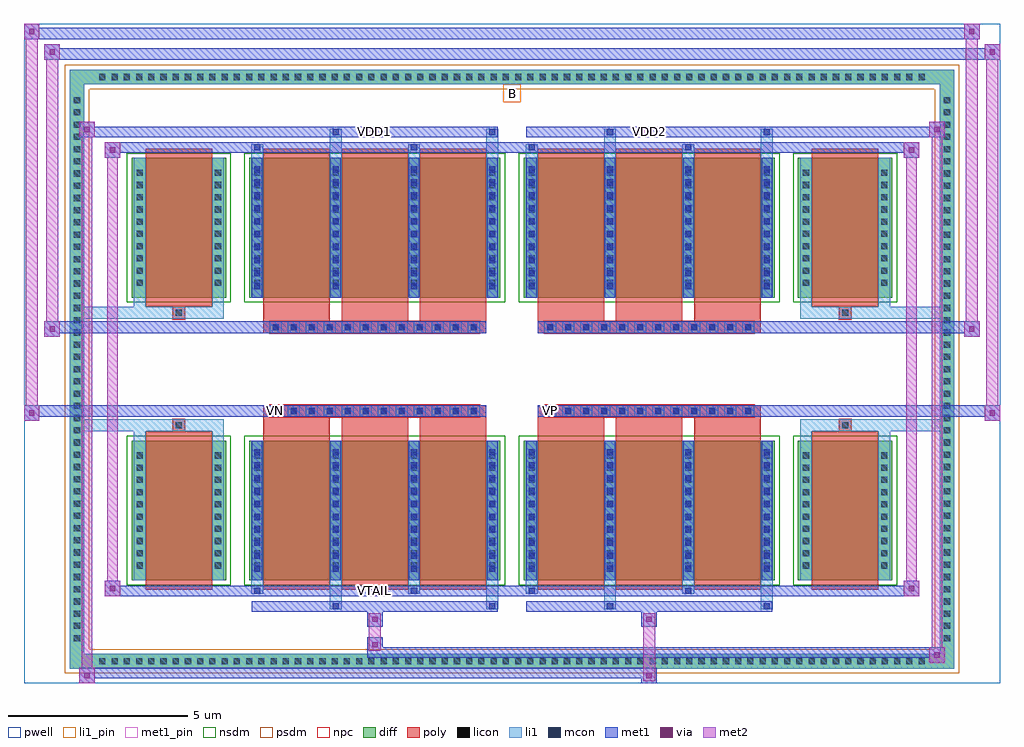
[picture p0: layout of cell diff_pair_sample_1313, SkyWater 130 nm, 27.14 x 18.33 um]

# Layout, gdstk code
import gdstk
lib = gdstk.Library(unit=1e-6, precision=5e-09)
def R(c, l, rs):  # rectangles x0, y0, x1, y1
    for r in rs: c.add(gdstk.rectangle(r[:2], r[2:], *l))
def A(c, l, x, y, w, h, nx, ny, dx, dy):  # array of equal rectangles
    R(c, l, [(x+i*dx, y+j*dy, x+i*dx+w, y+j*dy+h) for i in range(nx) for j in range(ny)])
def P(c, l, *ps):  # polygons
    for p in ps: c.add(gdstk.Polygon(p, *l))
pwell = (64, 44)
diff = (65, 20)
poly = (66, 20)
licon = (66, 44)
li1_pin = (67, 16)
li1 = (67, 20)
mcon = (67, 44)
met1_pin = (68, 16)
met1 = (68, 20)
via = (68, 44)
met2 = (69, 20)
nsdm = (93, 44)
psdm = (94, 20)
npc = (95, 20)

diff_pair_sample_1313 = lib.new_cell('diff_pair_sample_1313')
R(diff_pair_sample_1313, pwell, [(-13.57,-8.73,13.57,9.6), (-10.89,-6.92,-0.01,-0.8), (0.01,-6.92,10.89,-0.8), (-10.89,0.8,-0.01,6.92), (0.01,0.8,10.89,6.92)])
A(diff_pair_sample_1313, diff, -11.595, -8.33, 0.41, 0.41, 68, 2, 0.34, 16.25)
A(diff_pair_sample_1313, diff, -12.3, -7.685, 0.41, 0.41, 1, 45, 0, 0.34)
A(diff_pair_sample_1313, diff, 11.89, -7.685, 0.41, 0.41, 1, 45, 0, 0.34)
R(diff_pair_sample_1313, diff, [(-11.595,-8.33,11.595,-7.92), (-12.3,-7.685,-11.89,7.685), (11.89,-7.685,12.3,7.685), (-10.58,-5.875,-7.95,-1.985), (-7.31,-5.875,-0.32,-1.985), (0.32,-5.875,7.31,-1.985), (7.95,-5.875,10.58,-1.985), (-10.58,1.985,-7.95,5.875), (-7.31,1.985,-0.32,5.875), (0.32,1.985,7.31,5.875), (7.95,1.985,10.58,5.875), (-11.595,7.92,11.595,8.33)])
P(diff_pair_sample_1313, diff, [(12.3,8.33),(-12.3,8.33),(-12.3,-7.92),(-11.89,-7.92),(-11.89,7.92),(11.89,7.92),(11.89,-7.92),(-11.89,-7.92),(-12.3,-7.92),(-12.3,-8.33),(12.3,-8.33)])
A(diff_pair_sample_1313, poly, -6.92, -6.13, 1.85, 4.4, 3, 2, 2.18, 7.86)
A(diff_pair_sample_1313, poly, 0.71, -6.13, 1.85, 4.4, 3, 2, 2.18, 7.86)
A(diff_pair_sample_1313, poly, -6.92, -1.73, 1.85, 0.4, 3, 2, 2.18, 3.06)
A(diff_pair_sample_1313, poly, 0.71, -1.73, 1.85, 0.4, 3, 2, 2.18, 3.06)
A(diff_pair_sample_1313, poly, -6.73, -1.33, 0.33, 0.33, 12, 2, 0.5, 2.33)
A(diff_pair_sample_1313, poly, 0.9, -1.33, 0.33, 0.33, 12, 2, 0.5, 2.33)
R(diff_pair_sample_1313, poly, [(-10.19,-6.13,-8.34,-1.73), (8.34,-6.13,10.19,-1.73), (-9.43,-1.73,-9.1,-1.4), (-9.43,-1.73,-9.1,-1.4), (9.1,-1.73,9.43,-1.4), (9.1,-1.73,9.43,-1.4), (-6.92,-1.33,-0.71,-1), (0.71,-1.33,6.92,-1), (-6.92,1,-0.71,1.33), (0.71,1,6.92,1.33), (-9.43,1.4,-9.1,1.73), (-9.43,1.4,-9.1,1.73), (9.1,1.4,9.43,1.73), (9.1,1.4,9.43,1.73), (-10.19,1.73,-8.34,6.13), (8.34,1.73,10.19,6.13)])
A(diff_pair_sample_1313, licon, -11.475, -8.21, 0.17, 0.17, 68, 2, 0.34, 16.25)
A(diff_pair_sample_1313, licon, -12.18, -7.565, 0.17, 0.17, 1, 45, 0, 0.34)
A(diff_pair_sample_1313, licon, 12.01, -7.565, 0.17, 0.17, 1, 45, 0, 0.34)
A(diff_pair_sample_1313, licon, -10.44, -5.545, 0.17, 0.17, 1, 10, 0, 0.34)
A(diff_pair_sample_1313, licon, -8.26, -5.545, 0.17, 0.17, 1, 10, 0, 0.34)
A(diff_pair_sample_1313, licon, -7.17, -5.545, 0.17, 0.17, 4, 10, 2.18, 0.34)
A(diff_pair_sample_1313, licon, 0.46, -5.545, 0.17, 0.17, 4, 10, 2.18, 0.34)
A(diff_pair_sample_1313, licon, 8.09, -5.545, 0.17, 0.17, 1, 10, 0, 0.34)
A(diff_pair_sample_1313, licon, 10.27, -5.545, 0.17, 0.17, 1, 10, 0, 0.34)
A(diff_pair_sample_1313, licon, -6.65, -1.25, 0.17, 0.17, 12, 2, 0.5, 2.33)
A(diff_pair_sample_1313, licon, 0.98, -1.25, 0.17, 0.17, 12, 2, 0.5, 2.33)
A(diff_pair_sample_1313, licon, -10.44, 2.315, 0.17, 0.17, 1, 10, 0, 0.34)
A(diff_pair_sample_1313, licon, -8.26, 2.315, 0.17, 0.17, 1, 10, 0, 0.34)
A(diff_pair_sample_1313, licon, -7.17, 2.315, 0.17, 0.17, 4, 10, 2.18, 0.34)
A(diff_pair_sample_1313, licon, 0.46, 2.315, 0.17, 0.17, 4, 10, 2.18, 0.34)
A(diff_pair_sample_1313, licon, 8.09, 2.315, 0.17, 0.17, 1, 10, 0, 0.34)
A(diff_pair_sample_1313, licon, 10.27, 2.315, 0.17, 0.17, 1, 10, 0, 0.34)
R(diff_pair_sample_1313, licon, [(-9.35,-1.65,-9.18,-1.48), (9.18,-1.65,9.35,-1.48), (-9.35,1.48,-9.18,1.65), (9.18,1.48,9.35,1.65)])
R(diff_pair_sample_1313, li1_pin, [(-0.25,7.42,0.25,7.92)])
A(diff_pair_sample_1313, li1, -11.555, -8.29, 0.33, 0.33, 68, 2, 0.34, 16.25)
A(diff_pair_sample_1313, li1, -12.26, -7.645, 0.33, 0.33, 1, 45, 0, 0.34)
A(diff_pair_sample_1313, li1, 11.93, -7.645, 0.33, 0.33, 1, 45, 0, 0.34)
A(diff_pair_sample_1313, li1, -7.25, -5.875, 0.33, 3.89, 4, 2, 2.18, 7.86)
A(diff_pair_sample_1313, li1, 0.38, -5.875, 0.33, 3.89, 4, 2, 2.18, 7.86)
A(diff_pair_sample_1313, li1, -7.17, -5.635, 0.17, 0.17, 4, 10, 2.18, 0.36)
A(diff_pair_sample_1313, li1, -7.17, -5.635, 0.17, 3.41, 4, 2, 2.18, 7.86)
A(diff_pair_sample_1313, li1, 0.46, -5.635, 0.17, 0.17, 4, 10, 2.18, 0.36)
A(diff_pair_sample_1313, li1, 0.46, -5.635, 0.17, 3.41, 4, 2, 2.18, 7.86)
A(diff_pair_sample_1313, li1, -10.52, -5.625, 0.33, 0.33, 1, 10, 0, 0.34)
A(diff_pair_sample_1313, li1, -8.34, -5.625, 0.33, 0.33, 1, 10, 0, 0.34)
A(diff_pair_sample_1313, li1, -7.25, -5.625, 0.33, 0.33, 4, 10, 2.18, 0.34)
A(diff_pair_sample_1313, li1, 0.38, -5.625, 0.33, 0.33, 4, 10, 2.18, 0.34)
A(diff_pair_sample_1313, li1, 8.01, -5.625, 0.33, 0.33, 1, 10, 0, 0.34)
A(diff_pair_sample_1313, li1, 10.19, -5.625, 0.33, 0.33, 1, 10, 0, 0.34)
A(diff_pair_sample_1313, li1, -6.73, -1.33, 0.33, 0.33, 12, 2, 0.5, 2.33)
A(diff_pair_sample_1313, li1, 0.9, -1.33, 0.33, 0.33, 12, 2, 0.5, 2.33)
A(diff_pair_sample_1313, li1, -7.17, 2.225, 0.17, 0.17, 4, 10, 2.18, 0.36)
A(diff_pair_sample_1313, li1, 0.46, 2.225, 0.17, 0.17, 4, 10, 2.18, 0.36)
A(diff_pair_sample_1313, li1, -10.52, 2.235, 0.33, 0.33, 1, 10, 0, 0.34)
A(diff_pair_sample_1313, li1, -8.34, 2.235, 0.33, 0.33, 1, 10, 0, 0.34)
A(diff_pair_sample_1313, li1, -7.25, 2.235, 0.33, 0.33, 4, 10, 2.18, 0.34)
A(diff_pair_sample_1313, li1, 0.38, 2.235, 0.33, 0.33, 4, 10, 2.18, 0.34)
A(diff_pair_sample_1313, li1, 8.01, 2.235, 0.33, 0.33, 1, 10, 0, 0.34)
A(diff_pair_sample_1313, li1, 10.19, 2.235, 0.33, 0.33, 1, 10, 0, 0.34)
R(diff_pair_sample_1313, li1, [(-12.3,-8.33,-11.89,-7.92), (-12.3,-8.33,-11.89,-7.92), (-11.89,-8.33,11.89,-7.92), (11.89,-8.33,12.3,-7.92), (11.89,-8.33,12.3,-7.92), (-12.3,-7.92,-11.89,7.92), (11.89,-7.92,12.3,7.92), (-5.07,-6.68,-4.74,-5.875), (-4.99,-6.68,-4.82,-6.51), (-0.71,-6.68,-0.38,-5.875), (-0.63,-6.68,-0.46,-6.51), (2.56,-6.68,2.89,-5.875), (2.64,-6.68,2.81,-6.51), (6.92,-6.68,7.25,-5.875), (7,-6.68,7.17,-6.51), (-7.25,-6.25,-6.92,-5.875), (-7.17,-6.25,-7,-6.08), (-2.89,-6.25,-2.56,-5.875), (-2.81,-6.25,-2.64,-6.08), (0.38,-6.25,0.71,-5.875), (0.46,-6.25,0.63,-6.08), (4.74,-6.25,5.07,-5.875), (4.82,-6.25,4.99,-6.08), (-10.52,-5.875,-10.19,-1.985), (-8.34,-5.875,-8.01,-1.985), (8.01,-5.875,8.34,-1.985), (10.19,-5.875,10.52,-1.985), (-10.52,-1.985,-10.19,-1.4), (-8.34,-1.985,-8.01,-1.4), (8.01,-1.985,8.34,-1.4), (10.19,-1.985,10.52,-1.4), (-12.3,-1.73,-9.43,-1.4), (-10.52,-1.73,-9.43,-1.4), (-9.43,-1.73,-9.1,-1.4), (-9.1,-1.73,-8.01,-1.4), (8.01,-1.73,9.1,-1.4), (9.1,-1.73,9.43,-1.4), (9.1,-1.73,12.3,-1.4), (9.43,-1.73,10.52,-1.4), (-12.3,1.4,-9.43,1.73), (-10.52,1.4,-9.43,1.73), (-10.52,1.4,-10.19,1.985), (-9.43,1.4,-9.1,1.73), (-9.1,1.4,-8.01,1.73), (-8.34,1.4,-8.01,1.985), (8.01,1.4,9.1,1.73), (8.01,1.4,8.34,1.985), (9.1,1.4,9.43,1.73), (9.1,1.4,12.3,1.73), (9.43,1.4,10.52,1.73), (10.19,1.4,10.52,1.985), (-10.52,1.985,-10.19,5.875), (-8.34,1.985,-8.01,5.875), (8.01,1.985,8.34,5.875), (10.19,1.985,10.52,5.875), (-7.25,5.875,-6.92,6.25), (-5.07,5.875,-4.74,6.68), (-2.89,5.875,-2.56,6.25), (-0.71,5.875,-0.38,6.68), (0.38,5.875,0.71,6.25), (2.56,5.875,2.89,6.68), (4.74,5.875,5.07,6.25), (6.92,5.875,7.25,6.68), (-7.17,6.08,-7,6.25), (-2.81,6.08,-2.64,6.25), (0.46,6.08,0.63,6.25), (4.82,6.08,4.99,6.25), (-4.99,6.51,-4.82,6.68), (-0.63,6.51,-0.46,6.68), (2.64,6.51,2.81,6.68), (7,6.51,7.17,6.68), (-12.3,7.92,-11.89,8.33), (-12.3,7.92,-11.89,8.33), (-11.89,7.92,11.89,8.33), (11.89,7.92,12.3,8.33), (11.89,7.92,12.3,8.33)])
A(diff_pair_sample_1313, mcon, -7.17, -5.635, 0.17, 0.17, 4, 10, 2.18, 0.36)
A(diff_pair_sample_1313, mcon, 0.46, -5.635, 0.17, 0.17, 4, 10, 2.18, 0.36)
A(diff_pair_sample_1313, mcon, -6.65, -1.25, 0.17, 0.17, 12, 2, 0.5, 2.33)
A(diff_pair_sample_1313, mcon, 0.98, -1.25, 0.17, 0.17, 12, 2, 0.5, 2.33)
A(diff_pair_sample_1313, mcon, -7.17, 2.225, 0.17, 0.17, 4, 10, 2.18, 0.36)
A(diff_pair_sample_1313, mcon, 0.46, 2.225, 0.17, 0.17, 4, 10, 2.18, 0.36)
R(diff_pair_sample_1313, mcon, [(-4.99,-6.68,-4.82,-6.51), (-0.63,-6.68,-0.46,-6.51), (2.64,-6.68,2.81,-6.51), (7,-6.68,7.17,-6.51), (-7.17,-6.25,-7,-6.08), (-2.81,-6.25,-2.64,-6.08), (0.46,-6.25,0.63,-6.08), (4.82,-6.25,4.99,-6.08), (-7.17,6.08,-7,6.25), (-2.81,6.08,-2.64,6.25), (0.46,6.08,0.63,6.25), (4.82,6.08,4.99,6.25), (-4.99,6.51,-4.82,6.68), (-0.63,6.51,-0.46,6.68), (2.64,6.51,2.81,6.68), (7,6.51,7.17,6.68)])
R(diff_pair_sample_1313, met1_pin, [(-3.95,-6.29,-3.68,-6.02), (-6.7,-1.29,-6.43,-1.02), (0.93,-1.29,1.2,-1.02), (-3.95,6.47,-3.68,6.74), (3.68,6.47,3.95,6.74)])
A(diff_pair_sample_1313, met1, -7.23, -5.875, 0.29, 3.89, 4, 2, 2.18, 7.86)
A(diff_pair_sample_1313, met1, 0.4, -5.875, 0.29, 3.89, 4, 2, 2.18, 7.86)
A(diff_pair_sample_1313, met1, -7.23, -5.695, 0.29, 0.29, 4, 10, 2.18, 0.36)
A(diff_pair_sample_1313, met1, 0.4, -5.695, 0.29, 0.29, 4, 10, 2.18, 0.36)
A(diff_pair_sample_1313, met1, -6.71, -1.31, 0.29, 0.29, 12, 2, 0.5, 2.33)
A(diff_pair_sample_1313, met1, 0.92, -1.31, 0.29, 0.29, 12, 2, 0.5, 2.33)
A(diff_pair_sample_1313, met1, -7.23, 2.165, 0.29, 0.29, 4, 10, 2.18, 0.36)
A(diff_pair_sample_1313, met1, 0.4, 2.165, 0.29, 0.29, 4, 10, 2.18, 0.36)
R(diff_pair_sample_1313, met1, [(-12.03,-8.73,-11.6,-8.3), (3.6,-8.73,4.03,-8.3), (-12.03,-8.59,4.03,-8.3), (11.6,-8.16,12.03,-7.73), (-4.03,-8.02,12.03,-7.73), (-4.03,-7.88,-3.6,-7.45), (-4.03,-7.17,-3.6,-6.74), (3.6,-7.17,4.03,-6.74), (-7.23,-6.74,-0.4,-6.45), (-5.05,-6.74,-4.76,-6.45), (-0.69,-6.74,-0.4,-6.45), (0.4,-6.74,7.23,-6.45), (2.58,-6.74,2.87,-6.45), (6.94,-6.74,7.23,-6.45), (-11.32,-6.31,-10.89,-5.88), (-11.32,-6.31,-7.23,-6.02), (-7.23,-6.31,-6.94,-6.02), (-7.23,-6.31,-0.4,-6.02), (-2.87,-6.31,-2.58,-6.02), (-0.4,-6.31,0.4,-6.02), (0.4,-6.31,0.69,-6.02), (0.4,-6.31,7.23,-6.02), (4.76,-6.31,5.05,-6.02), (7.23,-6.31,11.32,-6.02), (10.89,-6.31,11.32,-5.88), (-13.57,-1.43,-13.14,-1), (13.14,-1.43,13.57,-1), (-13.57,-1.33,-0.71,-1), (-6.92,-1.33,-0.71,-1), (0.71,-1.33,6.92,-1), (0.71,-1.33,13.57,-1), (-13,0.9,-12.57,1.33), (12.57,0.9,13,1.33), (-13,1,-6.92,1.33), (-6.92,1,-0.71,1.33), (0.71,1,6.92,1.33), (6.92,1,13,1.33), (-11.32,5.88,-10.89,6.31), (10.89,5.88,11.32,6.31), (-11.32,6.02,-7.23,6.31), (-7.23,6.02,-6.94,6.31), (-7.23,6.02,-0.4,6.31), (-2.87,6.02,-2.58,6.31), (-0.4,6.02,0.4,6.31), (0.4,6.02,0.69,6.31), (0.4,6.02,7.23,6.31), (4.76,6.02,5.05,6.31), (7.23,6.02,11.32,6.31), (-12.03,6.45,-11.6,6.88), (-12.03,6.45,-7.23,6.74), (-7.23,6.45,-0.4,6.74), (-5.05,6.45,-4.76,6.74), (-0.69,6.45,-0.4,6.74), (0.4,6.45,7.23,6.74), (2.58,6.45,2.87,6.74), (6.94,6.45,7.23,6.74), (7.23,6.45,12.03,6.74), (11.6,6.45,12.03,6.88), (-13,8.6,-12.57,9.03), (-13,8.6,-10.89,8.93), (-10.89,8.6,10.89,8.93), (10.89,8.6,13.57,8.93), (13.14,8.6,13.57,9.03), (-13.57,9.17,-13.14,9.6), (-13.57,9.17,-10.89,9.5), (-10.89,9.17,10.89,9.5), (10.89,9.17,13,9.5), (12.57,9.17,13,9.6)])
R(diff_pair_sample_1313, via, [(-11.89,-8.59,-11.74,-8.44), (3.74,-8.59,3.89,-8.44), (11.74,-8.02,11.89,-7.87), (-3.89,-7.74,-3.74,-7.59), (-3.89,-7.03,-3.74,-6.88), (3.74,-7.03,3.89,-6.88), (-11.18,-6.17,-11.03,-6.02), (11.03,-6.17,11.18,-6.02), (-13.43,-1.29,-13.28,-1.14), (13.28,-1.29,13.43,-1.14), (-12.86,1.04,-12.71,1.19), (12.71,1.04,12.86,1.19), (-11.18,6.02,-11.03,6.17), (11.03,6.02,11.18,6.17), (-11.89,6.59,-11.74,6.74), (11.74,6.59,11.89,6.74), (-12.86,8.74,-12.71,8.89), (13.28,8.74,13.43,8.89), (-13.43,9.31,-13.28,9.46), (12.71,9.31,12.86,9.46)])
R(diff_pair_sample_1313, met2, [(-12.03,-8.73,-11.6,-8.3), (-11.96,-8.73,-11.67,6.88), (-11.67,-8.73,-11.6,-8.3), (-11.98,-8.68,-11.65,-8.35), (3.65,-8.68,3.98,-8.35), (3.65,-8.35,3.98,-7.12), (11.6,-8.16,12.03,-7.73), (11.67,-8.16,11.96,6.88), (11.96,-8.16,12.03,-7.73), (11.65,-8.11,11.98,-7.78), (-3.98,-7.83,-3.65,-7.5), (-3.98,-7.5,-3.65,-7.12), (-3.98,-7.12,-3.65,-6.79), (3.65,-7.12,3.98,-6.79), (-11.32,-6.31,-10.89,-5.88), (-11.25,-6.31,-10.96,6.31), (-10.96,-6.31,-10.89,-5.88), (10.89,-6.31,11.32,-5.88), (10.96,-6.31,11.25,6.31), (11.25,-6.31,11.32,-5.88), (-11.27,-6.26,-10.94,-5.93), (10.94,-6.26,11.27,-5.93), (-13.57,-1.43,-13.14,-1), (-13.52,-1.43,-13.19,9.6), (-13.19,-1.43,-13.14,-1), (13.14,-1.43,13.57,-1), (13.19,-1.43,13.52,9.03), (13.52,-1.43,13.57,-1), (-13.52,-1.38,-13.19,-1.05), (13.19,-1.38,13.52,-1.05), (-13,0.9,-12.57,1.33), (-12.95,0.9,-12.62,9.03), (-12.62,0.9,-12.57,1.33), (12.57,0.9,13,1.33), (12.62,0.9,12.95,9.6), (12.95,0.9,13,1.33), (-12.95,0.95,-12.62,1.28), (12.62,0.95,12.95,1.28), (-11.32,5.88,-10.89,6.31), (-10.96,5.88,-10.89,6.31), (10.89,5.88,11.32,6.31), (11.25,5.88,11.32,6.31), (-11.27,5.93,-10.94,6.26), (10.94,5.93,11.27,6.26), (-12.03,6.45,-11.6,6.88), (-11.67,6.45,-11.6,6.88), (11.6,6.45,12.03,6.88), (11.96,6.45,12.03,6.88), (-11.98,6.5,-11.65,6.83), (11.65,6.5,11.98,6.83), (-13,8.6,-12.57,9.03), (-12.62,8.6,-12.57,9.03), (13.14,8.6,13.57,9.03), (13.52,8.6,13.57,9.03), (-12.95,8.65,-12.62,8.98), (13.19,8.65,13.52,8.98), (-13.57,9.17,-13.14,9.6), (-13.19,9.17,-13.14,9.6), (12.57,9.17,13,9.6), (12.95,9.17,13,9.6), (-13.52,9.22,-13.19,9.55), (12.62,9.22,12.95,9.55)])
R(diff_pair_sample_1313, nsdm, [(-10.71,-6.005,-7.82,-1.855), (-7.44,-6.005,-0.19,-1.855), (0.19,-6.005,7.44,-1.855), (7.82,-6.005,10.71,-1.855), (-10.71,1.855,-7.82,6.005), (-7.44,1.855,-0.19,6.005), (0.19,1.855,7.44,6.005), (7.82,1.855,10.71,6.005)])
P(diff_pair_sample_1313, psdm, [(12.43,8.46),(-12.43,8.46),(-12.43,-7.79),(-11.76,-7.79),(-11.76,7.79),(11.76,7.79),(11.76,-7.79),(-11.76,-7.79),(-12.43,-7.79),(-12.43,-8.46),(12.43,-8.46)])
A(diff_pair_sample_1313, npc, -6.75, -1.35, 0.37, 0.37, 12, 2, 0.5, 2.33)
A(diff_pair_sample_1313, npc, 0.88, -1.35, 0.37, 0.37, 12, 2, 0.5, 2.33)
R(diff_pair_sample_1313, npc, [(-9.45,-1.75,-9.08,-1.38), (9.08,-1.75,9.45,-1.38), (-6.75,-1.35,-5.88,-0.98), (-6.75,-1.35,-5.88,-0.98), (-6.25,-1.35,-5.38,-0.98), (-6.25,-1.35,-5.38,-0.98), (-5.75,-1.35,-4.88,-0.98), (-5.75,-1.35,-4.88,-0.98), (-5.25,-1.35,-4.38,-0.98), (-5.25,-1.35,-4.38,-0.98), (-4.75,-1.35,-3.88,-0.98), (-4.75,-1.35,-3.88,-0.98), (-4.25,-1.35,-3.38,-0.98), (-4.25,-1.35,-3.38,-0.98), (-3.75,-1.35,-2.88,-0.98), (-3.75,-1.35,-2.88,-0.98), (-3.25,-1.35,-2.38,-0.98), (-3.25,-1.35,-2.38,-0.98), (-2.75,-1.35,-1.88,-0.98), (-2.75,-1.35,-1.88,-0.98), (-2.25,-1.35,-1.38,-0.98), (-2.25,-1.35,-1.38,-0.98), (-1.75,-1.35,-0.88,-0.98), (-1.75,-1.35,-0.88,-0.98), (0.88,-1.35,1.75,-0.98), (0.88,-1.35,1.75,-0.98), (1.38,-1.35,2.25,-0.98), (1.38,-1.35,2.25,-0.98), (1.88,-1.35,2.75,-0.98), (1.88,-1.35,2.75,-0.98), (2.38,-1.35,3.25,-0.98), (2.38,-1.35,3.25,-0.98), (2.88,-1.35,3.75,-0.98), (2.88,-1.35,3.75,-0.98), (3.38,-1.35,4.25,-0.98), (3.38,-1.35,4.25,-0.98), (3.88,-1.35,4.75,-0.98), (3.88,-1.35,4.75,-0.98), (4.38,-1.35,5.25,-0.98), (4.38,-1.35,5.25,-0.98), (4.88,-1.35,5.75,-0.98), (4.88,-1.35,5.75,-0.98), (5.38,-1.35,6.25,-0.98), (5.38,-1.35,6.25,-0.98), (5.88,-1.35,6.75,-0.98), (5.88,-1.35,6.75,-0.98), (-6.75,0.98,-5.88,1.35), (-6.75,0.98,-5.88,1.35), (-6.25,0.98,-5.38,1.35), (-6.25,0.98,-5.38,1.35), (-5.75,0.98,-4.88,1.35), (-5.75,0.98,-4.88,1.35), (-5.25,0.98,-4.38,1.35), (-5.25,0.98,-4.38,1.35), (-4.75,0.98,-3.88,1.35), (-4.75,0.98,-3.88,1.35), (-4.25,0.98,-3.38,1.35), (-4.25,0.98,-3.38,1.35), (-3.75,0.98,-2.88,1.35), (-3.75,0.98,-2.88,1.35), (-3.25,0.98,-2.38,1.35), (-3.25,0.98,-2.38,1.35), (-2.75,0.98,-1.88,1.35), (-2.75,0.98,-1.88,1.35), (-2.25,0.98,-1.38,1.35), (-2.25,0.98,-1.38,1.35), (-1.75,0.98,-0.88,1.35), (-1.75,0.98,-0.88,1.35), (0.88,0.98,1.75,1.35), (0.88,0.98,1.75,1.35), (1.38,0.98,2.25,1.35), (1.38,0.98,2.25,1.35), (1.88,0.98,2.75,1.35), (1.88,0.98,2.75,1.35), (2.38,0.98,3.25,1.35), (2.38,0.98,3.25,1.35), (2.88,0.98,3.75,1.35), (2.88,0.98,3.75,1.35), (3.38,0.98,4.25,1.35), (3.38,0.98,4.25,1.35), (3.88,0.98,4.75,1.35), (3.88,0.98,4.75,1.35), (4.38,0.98,5.25,1.35), (4.38,0.98,5.25,1.35), (4.88,0.98,5.75,1.35), (4.88,0.98,5.75,1.35), (5.38,0.98,6.25,1.35), (5.38,0.98,6.25,1.35), (5.88,0.98,6.75,1.35), (5.88,0.98,6.75,1.35), (-9.45,1.38,-9.08,1.75), (9.08,1.38,9.45,1.75)])
diff_pair_sample_1313.add(gdstk.Label('VTAIL', (-3.815,-6.155), layer=68, texttype=5))
diff_pair_sample_1313.add(gdstk.Label('VN', (-6.565,-1.155), layer=68, texttype=5))
diff_pair_sample_1313.add(gdstk.Label('VP', (1.065,-1.155), layer=68, texttype=5))
diff_pair_sample_1313.add(gdstk.Label('B', (0,7.67), layer=67, texttype=5))
diff_pair_sample_1313.add(gdstk.Label('VDD2', (3.815,6.605), layer=68, texttype=5))
diff_pair_sample_1313.add(gdstk.Label('VDD1', (-3.815,6.605), layer=68, texttype=5))

lib.write_gds('diff_pair_sample_1313.gds')
